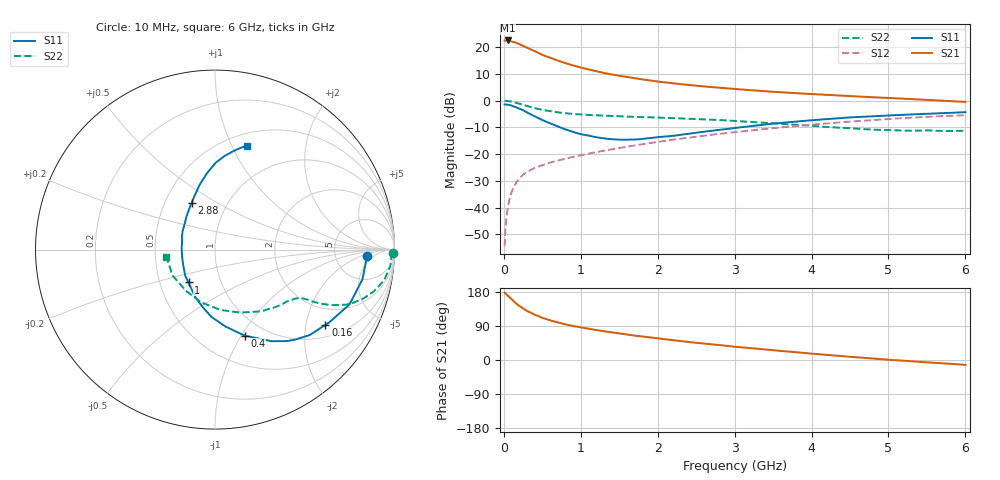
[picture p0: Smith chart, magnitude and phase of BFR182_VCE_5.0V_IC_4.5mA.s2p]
! Infineon Technologies  Discrete & RF Semiconductors
! BFR182
! VCE =  5.0 V,  IC =  4.5 mA
! Common Emitter S-Parameters:  Nov 2015
# GHz  S  MA  R  50
!  f  S11  S21  S12  S22
! GHz  MAG  ANG  MAG  ANG  MAG  ANG  MAG  ANG
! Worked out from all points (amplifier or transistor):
!   210 points, 10 MHz to 6 GHz, reference 50 ohm
!   highest |S21| = 22.4 dB at 50 MHz (marker M1)
!   |S21| within 3 dB of that: start of sweep to 325.1 MHz
!   unconditionally stable (mu >= 1): 1.162 GHz to 2.899 GHz
!   at 185 MHz: K = 0.31, MSG = 25.5 dB, |S12| = -29.8 dB
!   at 1.52 GHz: K = 1.05, MAG = 12.0 dB, |S12| = -17.6 dB
!   at 6 GHz: K = 0.88, MSG = 2.5 dB, |S12| = -5.5 dB
!   S11 on the Smith chart (normalised r, x): 10 MHz: 11, -3; 160 MHz: 1.38, -2.59; 400 MHz: 0.80, -1.03; 1 GHz: 0.70, -0.27; 2.88 GHz: 0.68, +0.39; 6 GHz: 0.62, +1.14
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0.01  0.8451 -2.3  13.16 177.9  0.0019 86.8  0.9912 -1.1
0.025  0.8419 -5.6  13.2 174.6  0.0047 87.0  0.9835 -2.6
0.05  0.8381 -11.4  13.25 169.9  0.0097 84.7  0.9813 -5.3
0.1  0.8091 -22.2  12.66 160.6  0.0195 79.0  0.958 -10.2
0.145  0.7591 -31.4  12.17 151.6  0.0269 73.2  0.9204 -14.1
0.16  0.7444 -34.3  11.96 149.1  0.0291 72.1  0.9078 -15.3
0.2  0.7108 -42.0  11.36 142.9  0.0345 69.7  0.874 -18.0
0.26  0.6478 -51.9  10.33 134.5  0.0422 65.5  0.8249 -21.1
0.3  0.6001 -58.3  9.745 129.4  0.0464 64.2  0.7922 -22.8
0.4  0.5071 -71.0  8.388 119.6  0.0549 61.1  0.7208 -25.4
0.5  0.4334 -82.1  7.141 111.2  0.0618 59.6  0.6687 -26.9
0.62  0.3657 -94.6  6.138 103.6  0.0705 58.9  0.6253 -27.8
0.8  0.289 -112.0  4.991 94.0  0.0819 59.2  0.5784 -28.6
1  0.235 -128.8  4.126 85.9  0.0949 59.9  0.5476 -29.5
1.02  0.2319 -130.6  4.061 85.2  0.0963 60.0  0.5455 -29.7
1.4  0.1895 -165.0  3.07 72.9  0.1222 61.1  0.5153 -32.6
2.02  0.2082 149.9  2.247 56.6  0.1703 60.5  0.4806 -39.6
2.88  0.2925 116.5  1.695 37.7  0.2453 56.2  0.426 -53.7
3.1  0.3186 111.2  1.602 33.3  0.266 54.4  0.4072 -58.3
4.1  0.4387 94.6  1.296 15.2  0.3634 45.0  0.3287 -87.9
5.1  0.5343 82.7  1.102 -0.6  0.4612 32.9  0.2768 -129.8
6  0.6054 73.1  0.942 -12.8  0.5322 20.1  0.2732 -171.7
